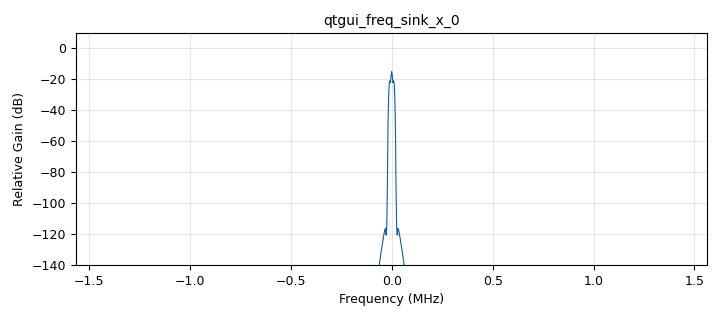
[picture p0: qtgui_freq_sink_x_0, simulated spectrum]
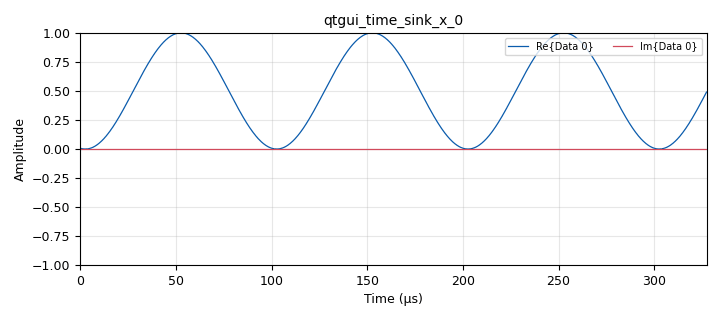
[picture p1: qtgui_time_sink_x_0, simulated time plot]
options:
  parameters:
    author: Kmila-Monica
    generate_options: qt_gui
    id: options_0
    output_language: python
    title: ModuladorAM
  states: {}

blocks:
- name: A
  id: variable_qtgui_range
  parameters:
    label: Amplitud de señal
    start: '0'
    step: '1e-2'
    stop: '500e-3'
    value: '500e-3'
  states: {}
- name: Ac
  id: variable_qtgui_range
  parameters:
    label: Amplitud de portadora
    start: '0'
    step: '1e-2'
    stop: '500e-3'
    value: '500e-3'
  states: {}
- name: GTX
  id: variable_qtgui_range
  parameters:
    label: Ganancia Transmisor
    start: '0'
    step: '500e-3'
    stop: '30'
    value: '500e-3'
  states: {}
- name: fc
  id: variable_qtgui_range
  parameters:
    label: Frecuencia Portadora
    start: 50e6
    step: 100e3
    stop: 1e9
    value: 200e6
  states: {}
- name: fcut
  id: variable_qtgui_range
  parameters:
    start: '0'
    step: '100'
    stop: samp_rate/2
    value: samp_rate/2
  states: {}
- name: fm
  id: variable_qtgui_range
  parameters:
    label: Frecuencia De Señal
    start: 1e3
    step: 1e3
    stop: 1e6
    value: 10e3
  states: {}
- name: ka
  id: variable_qtgui_range
  parameters:
    start: '-2'
    step: '10e-3'
    stop: '2'
    value: '2'
  states: {}
- name: samp_rate
  id: variable
  parameters:
    value: 3.125e6
  states: {}
- name: analog_sig_source_x_0
  id: analog_sig_source_x
  parameters:
    alias: Analog_sig_source_x_0
    amp: A
    freq: fm
    offset: '0'
    phase: '0'
    samp_rate: samp_rate
    type: float
    waveform: analog.GR_SIN_WAVE
  states: {}
- name: blocks_add_const_vxx_0
  id: blocks_add_const_vxx
  parameters:
    const: '1'
    type: float
  states: {}
- name: blocks_float_to_complex_0
  id: blocks_float_to_complex
  parameters: {}
  states: {}
- name: blocks_multiply_const_vxx_0
  id: blocks_multiply_const_vxx
  parameters:
    const: ka
    type: float
  states: {}
- name: blocks_multiply_const_vxx_1
  id: blocks_multiply_const_vxx
  parameters:
    const: Ac
    type: complex
  states: {}
- name: blocks_null_source_0
  id: blocks_null_source
  parameters:
    type: float
  states: {}
- name: blocks_throttle2_0
  id: blocks_throttle2
  parameters:
    alias: blocks_throttle2_0
    samples_per_second: samp_rate
    type: float
  states: {}
- name: qtgui_freq_sink_x_0
  id: qtgui_freq_sink_x
  parameters:
    alias: qtgui_freq_sink_x_0
    bw: samp_rate
    fc: '0'
    fftsize: '1024'
    type: complex
  states: {}
- name: qtgui_time_sink_x_0
  id: qtgui_time_sink_x
  parameters:
    alias: qtgui_time_sink_x_0
    size: '1024'
    srate: samp_rate
    type: complex
  states: {}
- name: uhd_usrp_sink_0
  id: uhd_usrp_sink
  parameters:
    alias: uhd_usrp_sink_0
    ant0: '"TX/RX"'
    center_freq0: fc
    gain0: GTX
    samp_rate: samp_rate
    sync: pc_clock
    type: fc32
  states: {}

connections:
- [analog_sig_source_x_0, '0', blocks_throttle2_0, '0']
- [blocks_add_const_vxx_0, '0', blocks_float_to_complex_0, '0']
- [blocks_float_to_complex_0, '0', blocks_multiply_const_vxx_1, '0']
- [blocks_multiply_const_vxx_0, '0', blocks_add_const_vxx_0, '0']
- [blocks_multiply_const_vxx_1, '0', qtgui_freq_sink_x_0, '0']
- [blocks_multiply_const_vxx_1, '0', qtgui_time_sink_x_0, '0']
- [blocks_multiply_const_vxx_1, '0', uhd_usrp_sink_0, '0']
- [blocks_null_source_0, '0', blocks_float_to_complex_0, '1']
- [blocks_throttle2_0, '0', blocks_multiply_const_vxx_0, '0']

metadata:
  file_format: 1
  grc_version: v3.11.0.0git-810-g1ecb8565
